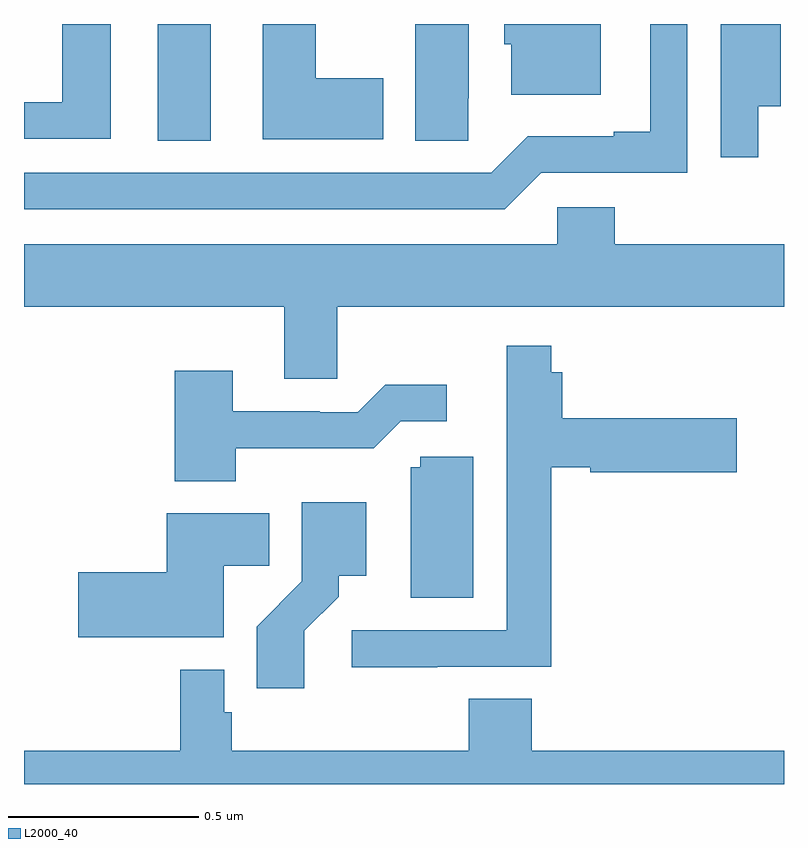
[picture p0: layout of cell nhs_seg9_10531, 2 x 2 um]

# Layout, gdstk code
import gdstk
lib = gdstk.Library(unit=1e-6, precision=1e-09)
def R(c, l, rs):  # rectangles x0, y0, x1, y1
    for r in rs: c.add(gdstk.rectangle(r[:2], r[2:], *l))
def P(c, l, *ps):  # polygons
    for p in ps: c.add(gdstk.Polygon(p, *l))
L2000_40 = (2000, 40)

nhs_seg9_10531 = lib.new_cell('nhs_seg9_10531')
R(nhs_seg9_10531, L2000_40, [(244.352,1194.193,244.492,1194.5)])
P(nhs_seg9_10531, L2000_40, [(245.169,1194.304),(245.17,1194.304),(245.17,1194.5),(245.03,1194.5),(245.03,1194.193),(245.169,1194.193)],
  [(245.932,1194.284),(245.992,1194.284),(245.992,1194.5),(245.833,1194.5),(245.833,1194.388),(245.834,1194.388),(245.834,1194.15),(245.932,1194.15)],
  [(245.361,1194.108),(245.745,1194.108),(245.745,1194.5),(245.648,1194.5),(245.648,1194.217),(245.552,1194.217),(245.552,1194.204),(245.325,1194.204),(245.229,1194.108),(244,1194.108),(244,1194.012),(245.265,1194.012)],
  [(244.945,1194.357),(244.768,1194.357),(244.768,1194.5),(244.628,1194.5),(244.628,1194.197),(244.945,1194.197)],
  [(244.228,1194.5),(244.1,1194.5),(244.1,1194.294),(244,1194.294),(244,1194.198),(244.228,1194.198)],
  [(245.518,1194.5),(245.264,1194.5),(245.264,1194.447),(245.282,1194.447),(245.282,1194.314),(245.518,1194.314)],
  [(244.824,1193.756),(246,1193.756),(246,1193.92),(245.555,1193.92),(245.555,1194.018),(245.403,1194.018),(245.403,1193.92),(244,1193.92),(244,1193.756),(244.685,1193.756),(244.685,1193.566),(244.824,1193.566)],
  [(245.087,1192.809),(245.387,1192.809),(245.387,1193.333),(245.49,1193.333),(245.49,1193.321),(245.875,1193.321),(245.875,1193.463),(245.417,1193.463),(245.417,1193.584),(245.387,1193.584),(245.387,1193.653),(245.271,1193.653),(245.271,1192.905),(244.863,1192.905),(244.863,1192.807),(245.087,1192.807)],
  [(244.557,1193.384),(244.921,1193.384),(244.992,1193.454),(245.113,1193.454),(245.113,1193.551),(244.951,1193.551),(244.878,1193.478),(244.778,1193.478),(244.778,1193.481),(244.549,1193.481),(244.549,1193.587),(244.397,1193.587),(244.397,1193.297),(244.557,1193.297)],
  [(245.182,1193.361),(245.043,1193.361),(245.043,1193.334),(245.018,1193.334),(245.018,1192.99),(245.182,1192.99)],
  [(244.738,1192.903),(244.828,1192.993),(244.828,1193.048),(244.9,1193.048),(244.9,1193.242),(244.731,1193.242),(244.731,1193.033),(244.612,1192.914),(244.612,1192.752),(244.738,1192.752)],
  [(244.525,1193.074),(244.646,1193.074),(244.646,1193.212),(244.376,1193.212),(244.376,1193.057),(244.143,1193.057),(244.143,1192.886),(244.525,1192.886)],
  [(246,1192.588),(245.336,1192.588),(245.336,1192.724),(245.171,1192.724),(245.171,1192.588),(244.547,1192.588),(244.547,1192.689),(244.527,1192.689),(244.527,1192.801),(244.411,1192.801),(244.411,1192.588),(244,1192.588),(244,1192.5),(246,1192.5)])

lib.write_gds('nhs_seg9_10531.gds')
